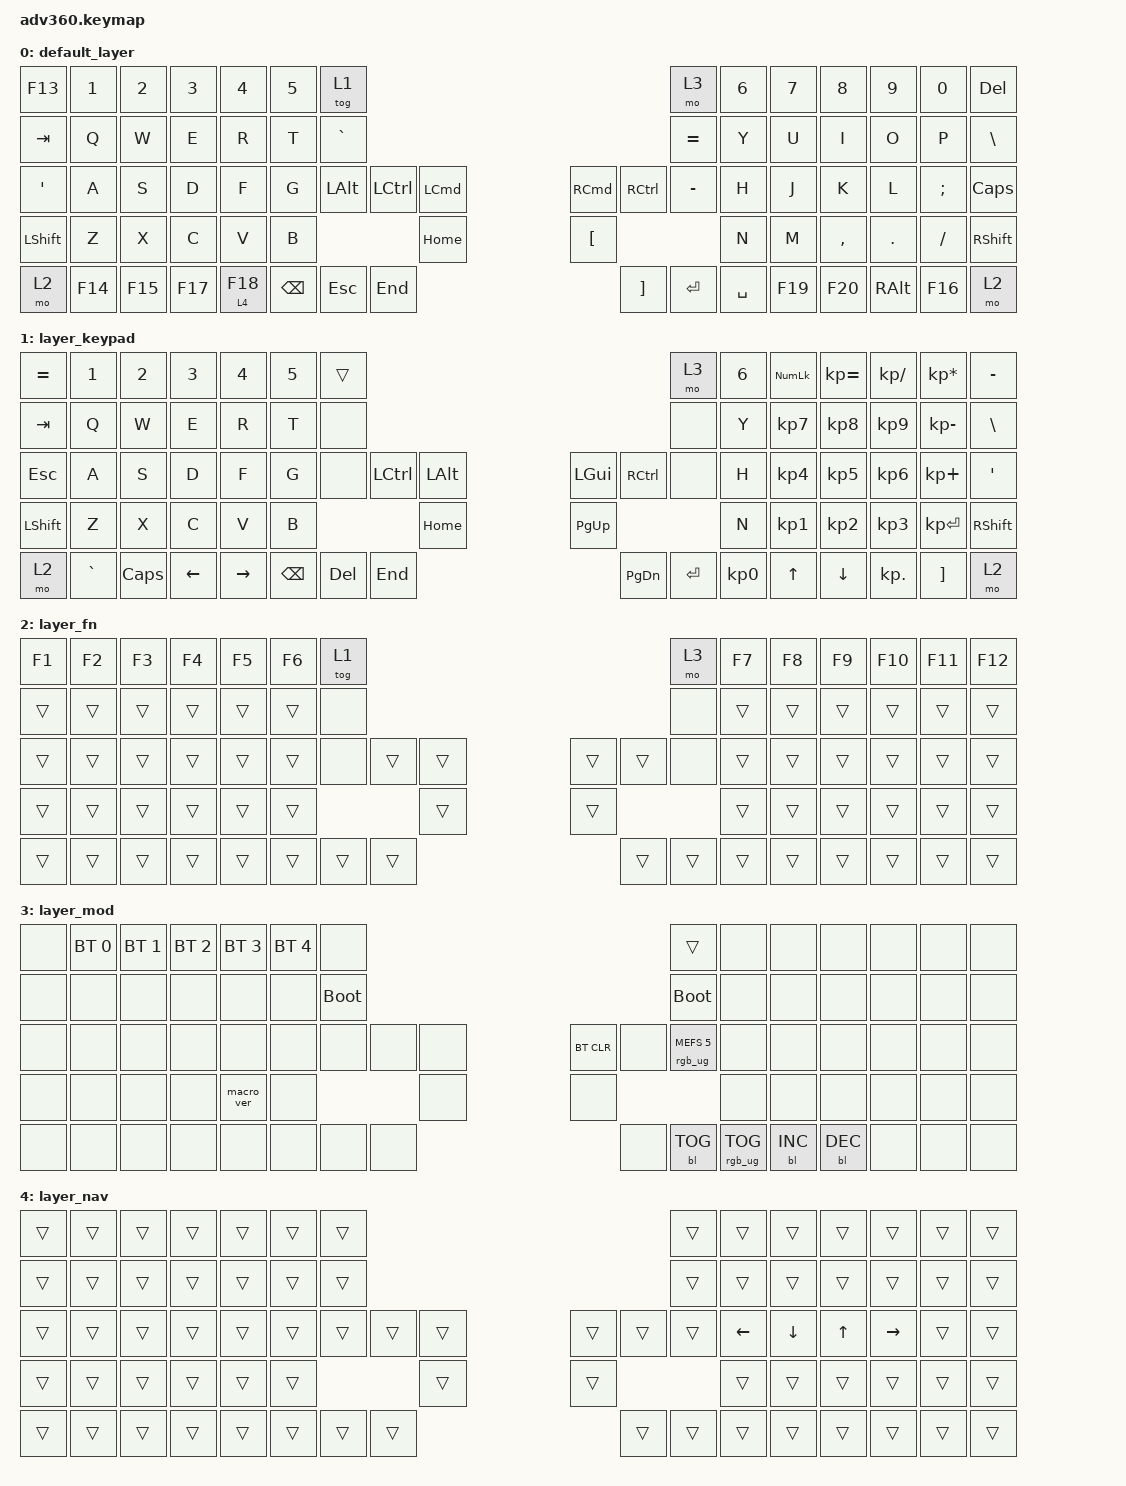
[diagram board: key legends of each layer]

/*
 * Copyright (c) 2020 The ZMK Contributors
 *
 * SPDX-License-Identifier: MIT
 */


/* THIS FILE WAS GENERATED!
 *
 * This file was generated automatically. You may or may not want to
 * edit it directly.
 */

#include <behaviors.dtsi>
#include <dt-bindings/zmk/keys.h>
#include <dt-bindings/zmk/bt.h>
#include <dt-bindings/zmk/rgb.h>
#include <dt-bindings/zmk/backlight.h>

/ {
  behaviors {
    #include "macros.dtsi"
    #include "version.dtsi"

    hm: homerow_mods {
        compatible = "zmk,behavior-hold-tap";
        label = "HOMEROW_MODS";
        #binding-cells = <2>;
        tapping-term-ms = <200>;
        quick_tap_ms = <175>;
        flavor = "tap-preferred";
        bindings = <&kp>, <&kp>;
    };

    lt_nav: layer_tap_nav {
        compatible = "zmk,behavior-hold-tap";
        label = "LAYER_TAP_NAV";
        #binding-cells = <2>;
        tapping-term-ms = <200>;
        quick-tap-ms = <150>;
        flavor = "balanced";
        bindings = <&mo>, <&kp>;
    };
  };

    keymap {
        compatible = "zmk,keymap";


        default_layer {
            bindings = <
   &kp F13  &kp N1  &kp N2    &kp N3     &kp N4  &kp N5                  &tog 1                                                                                 &mo 3  &kp N6  &kp N7     &kp N8         &kp N9    &kp N0    &kp DEL
   &kp TAB   &kp Q   &kp W     &kp E      &kp R   &kp T               &kp GRAVE                                                                             &kp EQUAL   &kp Y   &kp U      &kp I          &kp O     &kp P   &kp BSLH
   &kp SQT   &kp A   &kp S     &kp D      &kp F   &kp G            &kp LEFT_ALT  &kp LCTRL  &kp LEFT_COMMAND                  &kp RIGHT_COMMAND  &kp RCTRL  &kp MINUS   &kp H   &kp J      &kp K          &kp L  &kp SEMI   &kp CAPS
 &kp LSHFT   &kp Z   &kp X     &kp C      &kp V   &kp B                                             &kp HOME                           &kp LBKT                         &kp N   &kp M  &kp COMMA        &kp DOT  &kp FSLH  &kp RSHFT
     &mo 2 &kp F14 &kp F15   &kp F17 &lt_nav 4 F18                     &kp BSPC    &kp ESC           &kp END                           &kp RBKT  &kp ENTER  &kp SPACE         &kp F19    &kp F20  &kp RIGHT_ALT   &kp F16      &mo 2
            >;
        };

        layer_keypad {
            bindings = <
 &kp EQUAL     &kp N1    &kp N2    &kp N3     &kp N4  &kp N5              &trans                                                                 &mo 3  &kp N6  &kp KP_NUM  &kp KP_EQUAL  &kp KP_DIVIDE  &kp KP_MULTIPLY  &kp MINUS
   &kp TAB      &kp Q     &kp W     &kp E      &kp R   &kp T               &none                                                                 &none   &kp Y   &kp KP_N7     &kp KP_N8      &kp KP_N9     &kp KP_MINUS   &kp BSLH
   &kp ESC      &kp A     &kp S     &kp D      &kp F   &kp G               &none  &kp LCTRL  &kp LALT                   &kp LGUI  &kp RCTRL      &none   &kp H   &kp KP_N4     &kp KP_N5      &kp KP_N6      &kp KP_PLUS    &kp SQT
 &kp LSHFT      &kp Z     &kp X     &kp C      &kp V   &kp B                                 &kp HOME                  &kp PG_UP                         &kp N   &kp KP_N1     &kp KP_N2      &kp KP_N3     &kp KP_ENTER  &kp RSHFT
     &mo 2  &kp GRAVE  &kp CAPS  &kp LEFT  &kp RIGHT                    &kp BSPC    &kp DEL   &kp END                  &kp PG_DN  &kp ENTER  &kp KP_N0              &kp UP      &kp DOWN     &kp KP_DOT         &kp RBKT      &mo 2
            >;
        };

        layer_fn {
            bindings = <
 &kp F1  &kp F2  &kp F3  &kp F4  &kp F5  &kp F6            &tog 1                                                   &mo 3  &kp F7  &kp F8  &kp F9  &kp F10  &kp F11  &kp F12
 &trans  &trans  &trans  &trans  &trans  &trans             &none                                                   &none  &trans  &trans  &trans   &trans   &trans   &trans
 &trans  &trans  &trans  &trans  &trans  &trans             &none  &trans  &trans                  &trans  &trans   &none  &trans  &trans  &trans   &trans   &trans   &trans
 &trans  &trans  &trans  &trans  &trans  &trans                            &trans                  &trans                  &trans  &trans  &trans   &trans   &trans   &trans
 &trans  &trans  &trans  &trans  &trans                    &trans  &trans  &trans                  &trans  &trans  &trans          &trans  &trans   &trans   &trans   &trans
            >;
        };

        layer_mod {
            bindings = <
  &none  &bt BT_SEL 0  &bt BT_SEL 1  &bt BT_SEL 2  &bt BT_SEL 3  &bt BT_SEL 4                  &none                                                                          &trans   &none       &none       &none   &none   &none   &none
  &none         &none         &none         &none         &none         &none            &bootloader                                                                     &bootloader   &none       &none       &none   &none   &none   &none
  &none         &none         &none         &none         &none         &none                  &none   &none   &none                  &bt BT_CLR       &none  &rgb_ug RGB_MEFS_CMD 5   &none       &none       &none   &none   &none   &none
  &none         &none         &none         &none    &macro_ver         &none                                  &none                       &none                                       &none       &none       &none   &none   &none   &none
  &none         &none         &none         &none         &none                                &none   &none   &none                       &none  &bl BL_TOG         &rgb_ug RGB_TOG          &bl BL_INC  &bl BL_DEC   &none   &none   &none
            >;
        };

        layer_nav {
            bindings = <
 &trans  &trans  &trans  &trans  &trans  &trans            &trans                                                  &trans  &trans  &trans  &trans   &trans   &trans   &trans
 &trans  &trans  &trans  &trans  &trans  &trans            &trans                                                  &trans  &trans  &trans  &trans   &trans   &trans   &trans
 &trans  &trans  &trans  &trans  &trans  &trans            &trans  &trans  &trans                  &trans  &trans  &trans  &kp LEFT  &kp DOWN  &kp UP  &kp RIGHT  &trans  &trans
 &trans  &trans  &trans  &trans  &trans  &trans                            &trans                  &trans                  &trans  &trans  &trans   &trans   &trans   &trans
 &trans  &trans  &trans  &trans  &trans                    &trans  &trans  &trans                  &trans  &trans  &trans          &trans  &trans   &trans   &trans   &trans
            >;
        };

    };
};
